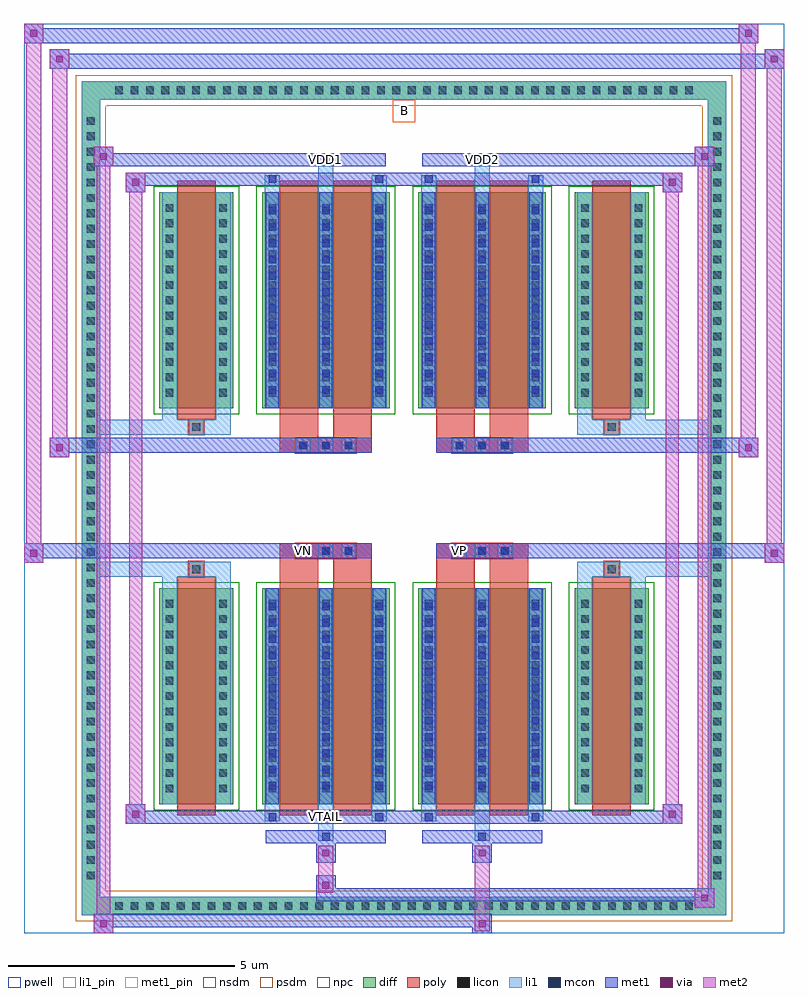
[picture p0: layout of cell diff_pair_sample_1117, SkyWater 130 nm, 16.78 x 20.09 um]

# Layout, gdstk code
import gdstk
lib = gdstk.Library(unit=1e-6, precision=5e-09)
def R(c, l, rs):  # rectangles x0, y0, x1, y1
    for r in rs: c.add(gdstk.rectangle(r[:2], r[2:], *l))
def A(c, l, x, y, w, h, nx, ny, dx, dy):  # array of equal rectangles
    R(c, l, [(x+i*dx, y+j*dy, x+i*dx+w, y+j*dy+h) for i in range(nx) for j in range(ny)])
def P(c, l, *ps):  # polygons
    for p in ps: c.add(gdstk.Polygon(p, *l))
pwell = (64, 44)
diff = (65, 20)
poly = (66, 20)
licon = (66, 44)
li1_pin = (67, 16)
li1 = (67, 20)
mcon = (67, 44)
met1_pin = (68, 16)
met1 = (68, 20)
via = (68, 44)
met2 = (69, 20)
nsdm = (93, 44)
psdm = (94, 20)
npc = (95, 20)

diff_pair_sample_1117 = lib.new_cell('diff_pair_sample_1117')
R(diff_pair_sample_1117, pwell, [(-8.39,-9.61,8.39,10.48), (-5.71,-7.8,-0.01,-0.8), (0.01,-7.8,5.71,-0.8), (-5.71,0.8,-0.01,7.8), (0.01,0.8,5.71,7.8)])
A(diff_pair_sample_1117, diff, -6.495, -9.21, 0.41, 0.41, 38, 2, 0.34, 18.01)
A(diff_pair_sample_1117, diff, -7.12, -8.535, 0.41, 0.41, 1, 50, 0, 0.34)
A(diff_pair_sample_1117, diff, 6.71, -8.535, 0.41, 0.41, 1, 50, 0, 0.34)
R(diff_pair_sample_1117, diff, [(-6.495,-9.21,6.495,-8.8), (-7.12,-8.535,-6.71,8.535), (6.71,-8.535,7.12,8.535), (-5.4,-6.755,-3.77,-1.985), (-3.13,-6.755,-0.32,-1.985), (0.32,-6.755,3.13,-1.985), (3.77,-6.755,5.4,-1.985), (-5.4,1.985,-3.77,6.755), (-3.13,1.985,-0.32,6.755), (0.32,1.985,3.13,6.755), (3.77,1.985,5.4,6.755), (-6.495,8.8,6.495,9.21)])
P(diff_pair_sample_1117, diff, [(7.12,9.21),(-7.12,9.21),(-7.12,-8.8),(-6.71,-8.8),(-6.71,8.8),(6.71,8.8),(6.71,-8.8),(-6.71,-8.8),(-7.12,-8.8),(-7.12,-9.21),(7.12,-9.21)])
A(diff_pair_sample_1117, poly, -2.39, -1.33, 0.33, 0.33, 3, 2, 0.5, 2.33)
A(diff_pair_sample_1117, poly, 1.06, -1.33, 0.33, 0.33, 3, 2, 0.5, 2.33)
R(diff_pair_sample_1117, poly, [(-5.01,-7.005,-4.16,-1.735), (-2.74,-7.005,-1.89,-1.735), (-1.56,-7.005,-0.71,-1.735), (0.71,-7.005,1.56,-1.735), (1.89,-7.005,2.74,-1.735), (4.16,-7.005,5.01,-1.735), (-4.75,-1.735,-4.42,-1.405), (-4.75,-1.735,-4.42,-1.405), (-2.74,-1.735,-1.89,-1.33), (-1.56,-1.735,-0.71,-1.33), (0.71,-1.735,1.56,-1.33), (1.89,-1.735,2.74,-1.33), (4.42,-1.735,4.75,-1.405), (4.42,-1.735,4.75,-1.405), (-2.74,-1.33,-0.71,-1), (0.71,-1.33,2.74,-1), (-2.74,1,-0.71,1.33), (0.71,1,2.74,1.33), (-2.74,1.33,-1.89,1.735), (-1.56,1.33,-0.71,1.735), (0.71,1.33,1.56,1.735), (1.89,1.33,2.74,1.735), (-4.75,1.405,-4.42,1.735), (-4.75,1.405,-4.42,1.735), (4.42,1.405,4.75,1.735), (4.42,1.405,4.75,1.735), (-5.01,1.735,-4.16,7.005), (-2.74,1.735,-1.89,7.005), (-1.56,1.735,-0.71,7.005), (0.71,1.735,1.56,7.005), (1.89,1.735,2.74,7.005), (4.16,1.735,5.01,7.005)])
A(diff_pair_sample_1117, licon, -6.375, -9.09, 0.17, 0.17, 38, 2, 0.34, 18.01)
A(diff_pair_sample_1117, licon, -7, -8.415, 0.17, 0.17, 1, 50, 0, 0.34)
A(diff_pair_sample_1117, licon, 6.83, -8.415, 0.17, 0.17, 1, 50, 0, 0.34)
A(diff_pair_sample_1117, licon, -5.26, -6.495, 0.17, 0.17, 1, 13, 0, 0.34)
A(diff_pair_sample_1117, licon, -4.08, -6.495, 0.17, 0.17, 1, 13, 0, 0.34)
A(diff_pair_sample_1117, licon, -2.99, -6.495, 0.17, 0.17, 3, 13, 1.18, 0.34)
A(diff_pair_sample_1117, licon, 0.46, -6.495, 0.17, 0.17, 3, 13, 1.18, 0.34)
A(diff_pair_sample_1117, licon, 3.91, -6.495, 0.17, 0.17, 1, 13, 0, 0.34)
A(diff_pair_sample_1117, licon, 5.09, -6.495, 0.17, 0.17, 1, 13, 0, 0.34)
A(diff_pair_sample_1117, licon, -2.31, -1.25, 0.17, 0.17, 3, 2, 0.5, 2.33)
A(diff_pair_sample_1117, licon, 1.14, -1.25, 0.17, 0.17, 3, 2, 0.5, 2.33)
A(diff_pair_sample_1117, licon, -5.26, 2.245, 0.17, 0.17, 1, 13, 0, 0.34)
A(diff_pair_sample_1117, licon, -4.08, 2.245, 0.17, 0.17, 1, 13, 0, 0.34)
A(diff_pair_sample_1117, licon, -2.99, 2.245, 0.17, 0.17, 3, 13, 1.18, 0.34)
A(diff_pair_sample_1117, licon, 0.46, 2.245, 0.17, 0.17, 3, 13, 1.18, 0.34)
A(diff_pair_sample_1117, licon, 3.91, 2.245, 0.17, 0.17, 1, 13, 0, 0.34)
A(diff_pair_sample_1117, licon, 5.09, 2.245, 0.17, 0.17, 1, 13, 0, 0.34)
R(diff_pair_sample_1117, licon, [(-4.67,-1.655,-4.5,-1.485), (4.5,-1.655,4.67,-1.485), (-4.67,1.485,-4.5,1.655), (4.5,1.485,4.67,1.655)])
R(diff_pair_sample_1117, li1_pin, [(-0.25,8.3,0.25,8.8)])
A(diff_pair_sample_1117, li1, -6.455, -9.17, 0.33, 0.33, 38, 2, 0.34, 18.01)
A(diff_pair_sample_1117, li1, -7.08, -8.495, 0.33, 0.33, 1, 50, 0, 0.34)
A(diff_pair_sample_1117, li1, 6.75, -8.495, 0.33, 0.33, 1, 50, 0, 0.34)
A(diff_pair_sample_1117, li1, -3.07, -6.755, 0.33, 4.77, 3, 2, 1.18, 8.74)
A(diff_pair_sample_1117, li1, 0.38, -6.755, 0.33, 4.77, 3, 2, 1.18, 8.74)
A(diff_pair_sample_1117, li1, -5.34, -6.575, 0.33, 0.33, 1, 13, 0, 0.34)
A(diff_pair_sample_1117, li1, -4.16, -6.575, 0.33, 0.33, 1, 13, 0, 0.34)
A(diff_pair_sample_1117, li1, -3.07, -6.575, 0.33, 0.33, 3, 13, 1.18, 0.34)
A(diff_pair_sample_1117, li1, 0.38, -6.575, 0.33, 0.33, 3, 13, 1.18, 0.34)
A(diff_pair_sample_1117, li1, 3.83, -6.575, 0.33, 0.33, 1, 13, 0, 0.34)
A(diff_pair_sample_1117, li1, 5.01, -6.575, 0.33, 0.33, 1, 13, 0, 0.34)
A(diff_pair_sample_1117, li1, -2.99, -6.435, 0.17, 0.17, 3, 12, 1.18, 0.36)
A(diff_pair_sample_1117, li1, -2.99, -6.435, 0.17, 4.13, 3, 2, 1.18, 8.74)
A(diff_pair_sample_1117, li1, 0.46, -6.435, 0.17, 0.17, 3, 12, 1.18, 0.36)
A(diff_pair_sample_1117, li1, 0.46, -6.435, 0.17, 4.13, 3, 2, 1.18, 8.74)
A(diff_pair_sample_1117, li1, -2.39, -1.33, 0.33, 0.33, 3, 2, 0.5, 2.33)
A(diff_pair_sample_1117, li1, 1.06, -1.33, 0.33, 0.33, 3, 2, 0.5, 2.33)
A(diff_pair_sample_1117, li1, -5.34, 2.165, 0.33, 0.33, 1, 13, 0, 0.34)
A(diff_pair_sample_1117, li1, -4.16, 2.165, 0.33, 0.33, 1, 13, 0, 0.34)
A(diff_pair_sample_1117, li1, -3.07, 2.165, 0.33, 0.33, 3, 13, 1.18, 0.34)
A(diff_pair_sample_1117, li1, 0.38, 2.165, 0.33, 0.33, 3, 13, 1.18, 0.34)
A(diff_pair_sample_1117, li1, 3.83, 2.165, 0.33, 0.33, 1, 13, 0, 0.34)
A(diff_pair_sample_1117, li1, 5.01, 2.165, 0.33, 0.33, 1, 13, 0, 0.34)
A(diff_pair_sample_1117, li1, -2.99, 2.305, 0.17, 0.17, 3, 12, 1.18, 0.36)
A(diff_pair_sample_1117, li1, 0.46, 2.305, 0.17, 0.17, 3, 12, 1.18, 0.36)
R(diff_pair_sample_1117, li1, [(-7.12,-9.21,-6.71,-8.8), (-7.12,-9.21,-6.71,-8.8), (-6.71,-9.21,6.71,-8.8), (6.71,-9.21,7.12,-8.8), (6.71,-9.21,7.12,-8.8), (-7.12,-8.8,-6.71,8.8), (6.71,-8.8,7.12,8.8), (-1.89,-7.56,-1.56,-6.755), (-1.81,-7.56,-1.64,-7.39), (1.56,-7.56,1.89,-6.755), (1.64,-7.56,1.81,-7.39), (-3.07,-7.13,-2.74,-6.755), (-2.99,-7.13,-2.82,-6.96), (-0.71,-7.13,-0.38,-6.755), (-0.63,-7.13,-0.46,-6.96), (0.38,-7.13,0.71,-6.755), (0.46,-7.13,0.63,-6.96), (2.74,-7.13,3.07,-6.755), (2.82,-7.13,2.99,-6.96), (-5.34,-6.755,-5.01,-1.985), (-4.16,-6.755,-3.83,-1.985), (3.83,-6.755,4.16,-1.985), (5.01,-6.755,5.34,-1.985), (-5.34,-1.985,-5.01,-1.405), (-4.16,-1.985,-3.83,-1.405), (3.83,-1.985,4.16,-1.405), (5.01,-1.985,5.34,-1.405), (-7.12,-1.735,-4.75,-1.405), (-5.34,-1.735,-4.75,-1.405), (-4.75,-1.735,-4.42,-1.405), (-4.42,-1.735,-3.83,-1.405), (3.83,-1.735,4.42,-1.405), (4.42,-1.735,4.75,-1.405), (4.42,-1.735,7.12,-1.405), (4.75,-1.735,5.34,-1.405), (-7.12,1.405,-4.75,1.735), (-5.34,1.405,-4.75,1.735), (-5.34,1.405,-5.01,1.985), (-4.75,1.405,-4.42,1.735), (-4.42,1.405,-3.83,1.735), (-4.16,1.405,-3.83,1.985), (3.83,1.405,4.42,1.735), (3.83,1.405,4.16,1.985), (4.42,1.405,4.75,1.735), (4.42,1.405,7.12,1.735), (4.75,1.405,5.34,1.735), (5.01,1.405,5.34,1.985), (-5.34,1.985,-5.01,6.755), (-4.16,1.985,-3.83,6.755), (3.83,1.985,4.16,6.755), (5.01,1.985,5.34,6.755), (-3.07,6.755,-2.74,7.13), (-1.89,6.755,-1.56,7.56), (-0.71,6.755,-0.38,7.13), (0.38,6.755,0.71,7.13), (1.56,6.755,1.89,7.56), (2.74,6.755,3.07,7.13), (-2.99,6.96,-2.82,7.13), (-0.63,6.96,-0.46,7.13), (0.46,6.96,0.63,7.13), (2.82,6.96,2.99,7.13), (-1.81,7.39,-1.64,7.56), (1.64,7.39,1.81,7.56), (-7.12,8.8,-6.71,9.21), (-7.12,8.8,-6.71,9.21), (-6.71,8.8,6.71,9.21), (6.71,8.8,7.12,9.21), (6.71,8.8,7.12,9.21)])
A(diff_pair_sample_1117, mcon, -2.99, -6.435, 0.17, 0.17, 3, 12, 1.18, 0.36)
A(diff_pair_sample_1117, mcon, 0.46, -6.435, 0.17, 0.17, 3, 12, 1.18, 0.36)
A(diff_pair_sample_1117, mcon, -2.31, -1.25, 0.17, 0.17, 3, 2, 0.5, 2.33)
A(diff_pair_sample_1117, mcon, 1.14, -1.25, 0.17, 0.17, 3, 2, 0.5, 2.33)
A(diff_pair_sample_1117, mcon, -2.99, 2.305, 0.17, 0.17, 3, 12, 1.18, 0.36)
A(diff_pair_sample_1117, mcon, 0.46, 2.305, 0.17, 0.17, 3, 12, 1.18, 0.36)
R(diff_pair_sample_1117, mcon, [(-1.81,-7.56,-1.64,-7.39), (1.64,-7.56,1.81,-7.39), (-2.99,-7.13,-2.82,-6.96), (-0.63,-7.13,-0.46,-6.96), (0.46,-7.13,0.63,-6.96), (2.82,-7.13,2.99,-6.96), (-2.99,6.96,-2.82,7.13), (-0.63,6.96,-0.46,7.13), (0.46,6.96,0.63,7.13), (2.82,6.96,2.99,7.13), (-1.81,7.39,-1.64,7.56), (1.64,7.39,1.81,7.56)])
R(diff_pair_sample_1117, met1_pin, [(-1.86,-7.17,-1.59,-6.9), (-2.36,-1.29,-2.09,-1.02), (1.09,-1.29,1.36,-1.02), (-1.86,7.35,-1.59,7.62), (1.59,7.35,1.86,7.62)])
A(diff_pair_sample_1117, met1, -3.05, -6.755, 0.29, 4.77, 3, 2, 1.18, 8.74)
A(diff_pair_sample_1117, met1, 0.4, -6.755, 0.29, 4.77, 3, 2, 1.18, 8.74)
A(diff_pair_sample_1117, met1, -3.05, -6.495, 0.29, 0.29, 3, 12, 1.18, 0.36)
A(diff_pair_sample_1117, met1, 0.4, -6.495, 0.29, 0.29, 3, 12, 1.18, 0.36)
A(diff_pair_sample_1117, met1, -2.37, -1.31, 0.29, 0.29, 3, 2, 0.5, 2.33)
A(diff_pair_sample_1117, met1, 1.08, -1.31, 0.29, 0.29, 3, 2, 0.5, 2.33)
A(diff_pair_sample_1117, met1, -3.05, 2.245, 0.29, 0.29, 3, 12, 1.18, 0.36)
A(diff_pair_sample_1117, met1, 0.4, 2.245, 0.29, 0.29, 3, 12, 1.18, 0.36)
R(diff_pair_sample_1117, met1, [(-6.85,-9.61,-6.42,-9.18), (1.51,-9.61,1.94,-9.18), (-6.85,-9.47,1.94,-9.18), (6.42,-9.04,6.85,-8.61), (-1.94,-8.9,6.85,-8.61), (-1.94,-8.76,-1.51,-8.33), (-1.94,-8.05,-1.51,-7.62), (1.51,-8.05,1.94,-7.62), (-3.05,-7.62,-0.4,-7.33), (-1.87,-7.62,-1.58,-7.33), (0.4,-7.62,3.05,-7.33), (1.58,-7.62,1.87,-7.33), (-6.14,-7.19,-5.71,-6.76), (-6.14,-7.19,-3.05,-6.9), (-3.05,-7.19,-2.76,-6.9), (-3.05,-7.19,-0.4,-6.9), (-0.69,-7.19,-0.4,-6.9), (-0.4,-7.19,0.4,-6.9), (0.4,-7.19,0.69,-6.9), (0.4,-7.19,3.05,-6.9), (2.76,-7.19,3.05,-6.9), (3.05,-7.19,6.14,-6.9), (5.71,-7.19,6.14,-6.76), (-8.39,-1.43,-7.96,-1), (7.96,-1.43,8.39,-1), (-8.39,-1.33,-0.71,-1), (-2.74,-1.33,-0.71,-1), (0.71,-1.33,2.74,-1), (0.71,-1.33,8.39,-1), (-7.82,0.9,-7.39,1.33), (7.39,0.9,7.82,1.33), (-7.82,1,-2.74,1.33), (-2.74,1,-0.71,1.33), (0.71,1,2.74,1.33), (2.74,1,7.82,1.33), (-6.14,6.76,-5.71,7.19), (5.71,6.76,6.14,7.19), (-6.14,6.9,-3.05,7.19), (-3.05,6.9,-2.76,7.19), (-3.05,6.9,-0.4,7.19), (-0.69,6.9,-0.4,7.19), (-0.4,6.9,0.4,7.19), (0.4,6.9,0.69,7.19), (0.4,6.9,3.05,7.19), (2.76,6.9,3.05,7.19), (3.05,6.9,6.14,7.19), (-6.85,7.33,-6.42,7.76), (-6.85,7.33,-3.05,7.62), (-3.05,7.33,-0.4,7.62), (-1.87,7.33,-1.58,7.62), (0.4,7.33,3.05,7.62), (1.58,7.33,1.87,7.62), (3.05,7.33,6.85,7.62), (6.42,7.33,6.85,7.76), (-7.82,9.48,-7.39,9.91), (-7.82,9.48,-5.71,9.81), (-5.71,9.48,5.71,9.81), (5.71,9.48,8.39,9.81), (7.96,9.48,8.39,9.91), (-8.39,10.05,-7.96,10.48), (-8.39,10.05,-5.71,10.38), (-5.71,10.05,5.71,10.38), (5.71,10.05,7.82,10.38), (7.39,10.05,7.82,10.48)])
R(diff_pair_sample_1117, via, [(-6.71,-9.47,-6.56,-9.32), (1.65,-9.47,1.8,-9.32), (6.56,-8.9,6.71,-8.75), (-1.8,-8.62,-1.65,-8.47), (-1.8,-7.91,-1.65,-7.76), (1.65,-7.91,1.8,-7.76), (-6,-7.05,-5.85,-6.9), (5.85,-7.05,6,-6.9), (-8.25,-1.29,-8.1,-1.14), (8.1,-1.29,8.25,-1.14), (-7.68,1.04,-7.53,1.19), (7.53,1.04,7.68,1.19), (-6,6.9,-5.85,7.05), (5.85,6.9,6,7.05), (-6.71,7.47,-6.56,7.62), (6.56,7.47,6.71,7.62), (-7.68,9.62,-7.53,9.77), (8.1,9.62,8.25,9.77), (-8.25,10.19,-8.1,10.34), (7.53,10.19,7.68,10.34)])
R(diff_pair_sample_1117, met2, [(-6.85,-9.61,-6.42,-9.18), (-6.78,-9.61,-6.49,7.76), (-6.49,-9.61,-6.42,-9.18), (-6.8,-9.56,-6.47,-9.23), (1.56,-9.56,1.89,-9.23), (1.56,-9.23,1.89,-8), (6.42,-9.04,6.85,-8.61), (6.49,-9.04,6.78,7.76), (6.78,-9.04,6.85,-8.61), (6.47,-8.99,6.8,-8.66), (-1.89,-8.71,-1.56,-8.38), (-1.89,-8.38,-1.56,-8), (-1.89,-8,-1.56,-7.67), (1.56,-8,1.89,-7.67), (-6.14,-7.19,-5.71,-6.76), (-6.07,-7.19,-5.78,7.19), (-5.78,-7.19,-5.71,-6.76), (5.71,-7.19,6.14,-6.76), (5.78,-7.19,6.07,7.19), (6.07,-7.19,6.14,-6.76), (-6.09,-7.14,-5.76,-6.81), (5.76,-7.14,6.09,-6.81), (-8.39,-1.43,-7.96,-1), (-8.34,-1.43,-8.01,10.48), (-8.01,-1.43,-7.96,-1), (7.96,-1.43,8.39,-1), (8.01,-1.43,8.34,9.91), (8.34,-1.43,8.39,-1), (-8.34,-1.38,-8.01,-1.05), (8.01,-1.38,8.34,-1.05), (-7.82,0.9,-7.39,1.33), (-7.77,0.9,-7.44,9.91), (-7.44,0.9,-7.39,1.33), (7.39,0.9,7.82,1.33), (7.44,0.9,7.77,10.48), (7.77,0.9,7.82,1.33), (-7.77,0.95,-7.44,1.28), (7.44,0.95,7.77,1.28), (-6.14,6.76,-5.71,7.19), (-5.78,6.76,-5.71,7.19), (5.71,6.76,6.14,7.19), (6.07,6.76,6.14,7.19), (-6.09,6.81,-5.76,7.14), (5.76,6.81,6.09,7.14), (-6.85,7.33,-6.42,7.76), (-6.49,7.33,-6.42,7.76), (6.42,7.33,6.85,7.76), (6.78,7.33,6.85,7.76), (-6.8,7.38,-6.47,7.71), (6.47,7.38,6.8,7.71), (-7.82,9.48,-7.39,9.91), (-7.44,9.48,-7.39,9.91), (7.96,9.48,8.39,9.91), (8.34,9.48,8.39,9.91), (-7.77,9.53,-7.44,9.86), (8.01,9.53,8.34,9.86), (-8.39,10.05,-7.96,10.48), (-8.01,10.05,-7.96,10.48), (7.39,10.05,7.82,10.48), (7.77,10.05,7.82,10.48), (-8.34,10.1,-8.01,10.43), (7.44,10.1,7.77,10.43)])
R(diff_pair_sample_1117, nsdm, [(-5.53,-6.885,-3.64,-1.855), (-3.26,-6.885,-0.19,-1.855), (0.19,-6.885,3.26,-1.855), (3.64,-6.885,5.53,-1.855), (-5.53,1.855,-3.64,6.885), (-3.26,1.855,-0.19,6.885), (0.19,1.855,3.26,6.885), (3.64,1.855,5.53,6.885)])
P(diff_pair_sample_1117, psdm, [(7.25,9.34),(-7.25,9.34),(-7.25,-8.67),(-6.58,-8.67),(-6.58,8.67),(6.58,8.67),(6.58,-8.67),(-6.58,-8.67),(-7.25,-8.67),(-7.25,-9.34),(7.25,-9.34)])
A(diff_pair_sample_1117, npc, -2.41, -1.35, 0.37, 0.37, 3, 2, 0.5, 2.33)
A(diff_pair_sample_1117, npc, 1.04, -1.35, 0.37, 0.37, 3, 2, 0.5, 2.33)
R(diff_pair_sample_1117, npc, [(-4.77,-1.755,-4.4,-1.385), (4.4,-1.755,4.77,-1.385), (-2.41,-1.35,-1.54,-0.98), (-2.41,-1.35,-1.54,-0.98), (-1.91,-1.35,-1.04,-0.98), (-1.91,-1.35,-1.04,-0.98), (1.04,-1.35,1.91,-0.98), (1.04,-1.35,1.91,-0.98), (1.54,-1.35,2.41,-0.98), (1.54,-1.35,2.41,-0.98), (-2.41,0.98,-1.54,1.35), (-2.41,0.98,-1.54,1.35), (-1.91,0.98,-1.04,1.35), (-1.91,0.98,-1.04,1.35), (1.04,0.98,1.91,1.35), (1.04,0.98,1.91,1.35), (1.54,0.98,2.41,1.35), (1.54,0.98,2.41,1.35), (-4.77,1.385,-4.4,1.755), (4.4,1.385,4.77,1.755)])
diff_pair_sample_1117.add(gdstk.Label('VTAIL', (-1.725,-7.035), layer=68, texttype=5))
diff_pair_sample_1117.add(gdstk.Label('VN', (-2.225,-1.155), layer=68, texttype=5))
diff_pair_sample_1117.add(gdstk.Label('VP', (1.225,-1.155), layer=68, texttype=5))
diff_pair_sample_1117.add(gdstk.Label('B', (0,8.55), layer=67, texttype=5))
diff_pair_sample_1117.add(gdstk.Label('VDD2', (1.725,7.485), layer=68, texttype=5))
diff_pair_sample_1117.add(gdstk.Label('VDD1', (-1.725,7.485), layer=68, texttype=5))

lib.write_gds('diff_pair_sample_1117.gds')
